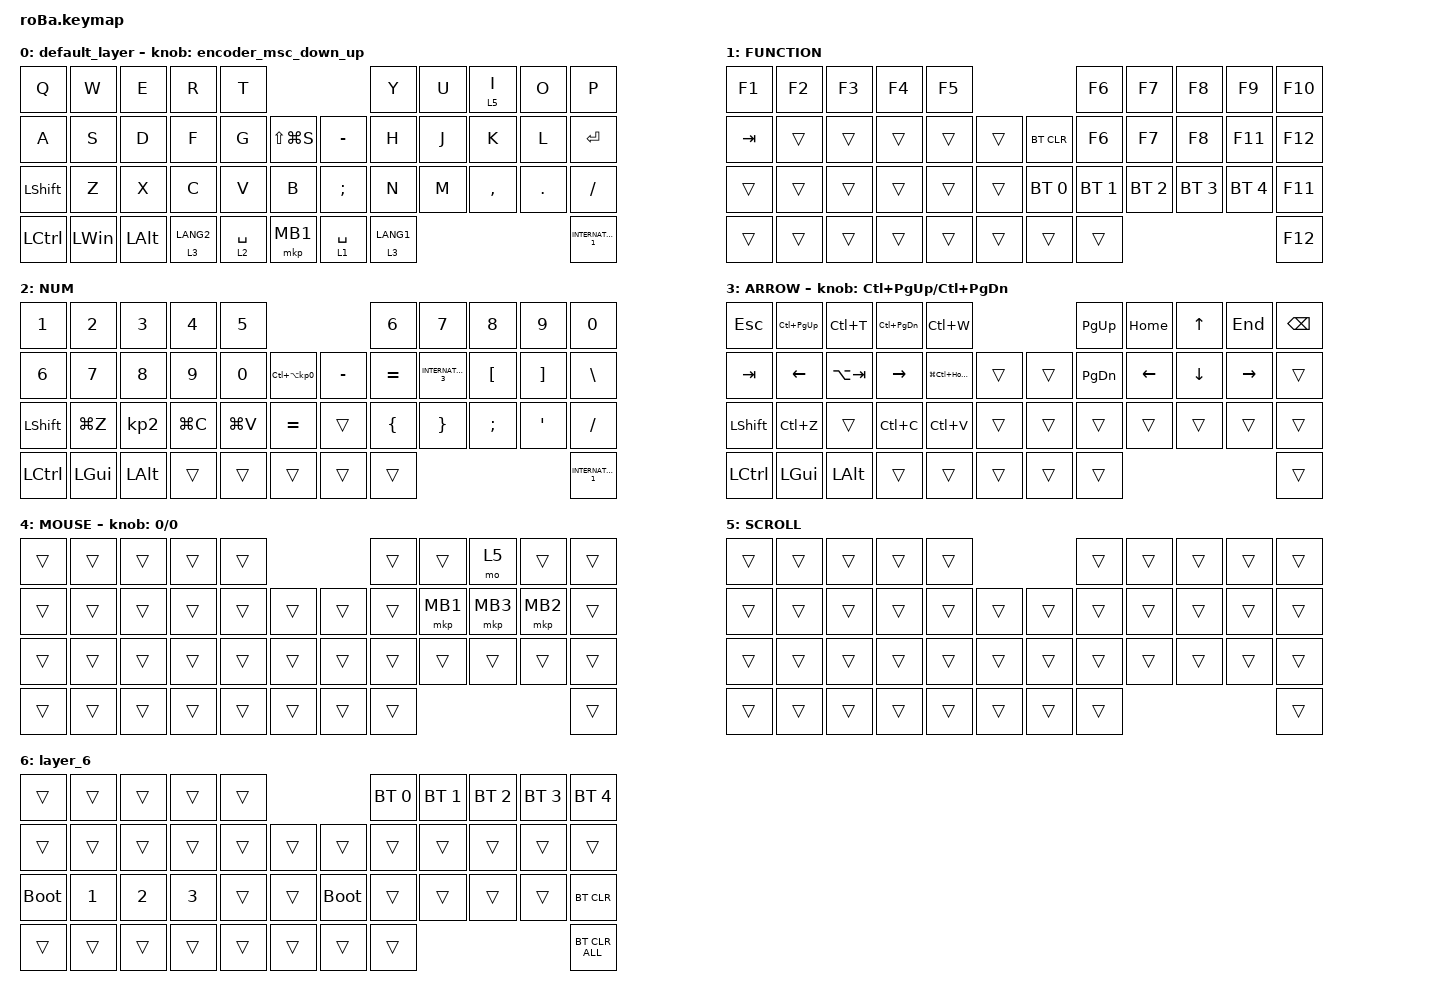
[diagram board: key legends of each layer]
#include <behaviors.dtsi>
#include <dt-bindings/zmk/bt.h>
#include <dt-bindings/zmk/keys.h>
#include <dt-bindings/zmk/pointing.h>

#define ZMK_POINTING_DEFAULT_SCRL_VAL 80

&mt {
    flavor = "balanced";
    quick-tap-ms = <0>;
};

&trackball {
    automouse-layer = <4>;
    scroll-layers = <5>;

    // arrows {
    //     layers = <3>;
    //     bindings =
    //         <&kp RIGHT_ARROW>,
    //         <&kp LEFT_ARROW>,
    //         <&kp UP_ARROW>,
    //         <&kp DOWN_ARROW>;
    //     tick = <10>;
    //     wait-ms = <5>;
    //     tap-ms = <5>;
    // };
};

/ {
    combos {
        compatible = "zmk,combos";

        tab {
            bindings = <&kp TAB>;
            key-positions = <11 12>;
        };

        shift_tab {
            bindings = <&kp LS(TAB)>;
            key-positions = <12 13>;
        };

        muhennkann {
            bindings = <&to_layer_0 TAB>;
            key-positions = <11 10>;
        };

        double_quotation {
            bindings = <&kp DOUBLE_QUOTES>;
            key-positions = <20 21>;
        };

        eq {
            bindings = <&kp EQUAL>;
            key-positions = <24 25>;
        };
    };

    macros {
        to_layer_0: to_layer_0 {
            compatible = "zmk,behavior-macro-one-param";
            #binding-cells = <1>;
            bindings = <&to 0 &macro_param_1to1 &kp MACRO_PLACEHOLDER>;
            label = "TO_LAYER_0";
        };
    };

    behaviors {
        lt_to_layer_0: lt_to_layer_0 {
            compatible = "zmk,behavior-hold-tap";
            label = "LAYER_TAP_TO_0";
            bindings = <&mo>, <&to_layer_0>;

            #binding-cells = <2>;
            tapping-term-ms = <200>;
        };

        encoder_msc_down_up: encoder_msc_down_up {
            compatible = "zmk,behavior-sensor-rotate";
            label = "ENCODER_MSC_DOWN_UP";
            #sensor-binding-cells = <0>;
            bindings = <&msc SCRL_UP>, <&msc SCRL_DOWN>;

            tap-ms = <20>;
        };
    };

    keymap {
        compatible = "zmk,keymap";

        default_layer {
            bindings = <
&kp Q           &kp W         &kp E         &kp R                   &kp T                                                   &kp Y                   &kp U  &lt 5 I    &kp O    &kp P
&kp A           &kp S         &kp D         &kp F                   &kp G        &kp LS(LG(S))      &kp MINUS               &kp H                   &kp J  &kp K      &kp L    &kp ENTER
&kp LEFT_SHIFT  &kp Z         &kp X         &kp C                   &kp V        &kp B              &kp SEMICOLON           &kp N                   &kp M  &kp COMMA  &kp DOT  &kp SLASH
&kp LCTRL       &kp LEFT_WIN  &kp LEFT_ALT  &lt_to_layer_0 3 LANG2  &lt 2 SPACE  &mkp MB1           &lt_to_layer_0 1 SPACE  &lt_to_layer_0 3 LANG1                             &kp INTERNATIONAL_1
            >;

            sensor-bindings = <&encoder_msc_down_up>;
        };

        FUNCTION {
            bindings = <
&kp F1   &kp F2  &kp F3  &kp F4  &kp F5                            &kp F6        &kp F7        &kp F8        &kp F9        &kp F10
&kp TAB  &trans  &trans  &trans  &trans  &trans      &bt BT_CLR    &kp F6        &kp F7        &kp F8        &kp F11       &kp F12
&trans   &trans  &trans  &trans  &trans  &trans      &bt BT_SEL 0  &bt BT_SEL 1  &bt BT_SEL 2  &bt BT_SEL 3  &bt BT_SEL 4  &kp F11
&trans   &trans  &trans  &trans  &trans  &trans      &trans        &trans                                                  &kp F12
            >;
        };

        NUM {
            bindings = <
&kp NUMBER_1      &kp NUMBER_2  &kp NUMBER_3     &kp NUMBER_4  &kp NUMBER_5                                          &kp NUMBER_6    &kp NUMBER_7         &kp NUMBER_8      &kp NUMBER_9       &kp NUMBER_0
&kp NUMBER_6      &kp N7        &kp NUMBER_8     &kp NUMBER_9  &kp NUMBER_0  &kp LC(LA(KP_NUMBER_0))      &kp MINUS  &kp EQUAL       &kp INTERNATIONAL_3  &kp LEFT_BRACKET  &kp RIGHT_BRACKET  &kp BACKSLASH
&kp LEFT_SHIFT    &kp LG(Z)     &kp KP_NUMBER_2  &kp LG(C)     &kp LG(V)     &kp EQUAL                    &trans     &kp LEFT_BRACE  &kp RIGHT_BRACE      &kp SEMICOLON     &kp APOS           &kp SLASH
&kp LEFT_CONTROL  &kp LEFT_GUI  &kp LEFT_ALT     &trans        &trans        &trans                       &trans     &trans                                                                    &kp INTERNATIONAL_1
            >;
        };

        ARROW {
            bindings = <
&kp ESCAPE        &kp LC(PAGE_UP)  &kp LC(T)     &kp LC(PAGE_DOWN)  &kp LC(W)                             &kp PAGE_UP    &kp HOME        &kp UP_ARROW    &kp END          &kp BACKSPACE
&kp TAB           &kp LEFT_ARROW   &kp LA(TAB)   &kp RIGHT_ARROW    &kp LG(LC(HOME))  &trans      &trans  &kp PAGE_DOWN  &kp LEFT_ARROW  &kp DOWN_ARROW  &kp RIGHT_ARROW  &trans
&kp LEFT_SHIFT    &kp LC(Z)        &trans        &kp LC(C)          &kp LC(V)         &trans      &trans  &trans         &trans          &trans          &trans           &trans
&kp LEFT_CONTROL  &kp LEFT_GUI     &kp LEFT_ALT  &trans             &trans            &trans      &trans  &trans                                                          &trans
            >;

            sensor-bindings = <&inc_dec_kp LC(PAGE_UP) LC(PAGE_DOWN)>;
        };

        MOUSE {
            bindings = <
&trans  &trans  &trans  &trans  &trans                      &trans  &trans    &mo 5     &trans    &trans
&trans  &trans  &trans  &trans  &trans  &trans      &trans  &trans  &mkp MB1  &mkp MB3  &mkp MB2  &trans
&trans  &trans  &trans  &trans  &trans  &trans      &trans  &trans  &trans    &trans    &trans    &trans
&trans  &trans  &trans  &trans  &trans  &trans      &trans  &trans                                &trans
            >;

            sensor-bindings = <&inc_dec_kp 0 0>;
        };

        SCROLL {
            bindings = <
&trans  &trans  &trans  &trans  &trans                      &trans  &trans  &trans  &trans  &trans
&trans  &trans  &trans  &trans  &trans  &trans      &trans  &trans  &trans  &trans  &trans  &trans
&trans  &trans  &trans  &trans  &trans  &trans      &trans  &trans  &trans  &trans  &trans  &trans
&trans  &trans  &trans  &trans  &trans  &trans      &trans  &trans                          &trans
            >;
        };

        layer_6 {
            bindings = <
&trans       &trans        &trans        &trans        &trans                           &bt BT_SEL 0  &bt BT_SEL 1  &bt BT_SEL 2  &bt BT_SEL 3  &bt BT_SEL 4
&trans       &trans        &trans        &trans        &trans  &trans      &trans       &trans        &trans        &trans        &trans        &trans
&bootloader  &kp NUMBER_1  &kp NUMBER_2  &kp NUMBER_3  &trans  &trans      &bootloader  &trans        &trans        &trans        &trans        &bt BT_CLR
&trans       &trans        &trans        &trans        &trans  &trans      &trans       &trans                                                  &bt BT_CLR_ALL
            >;
        };
    };
};
